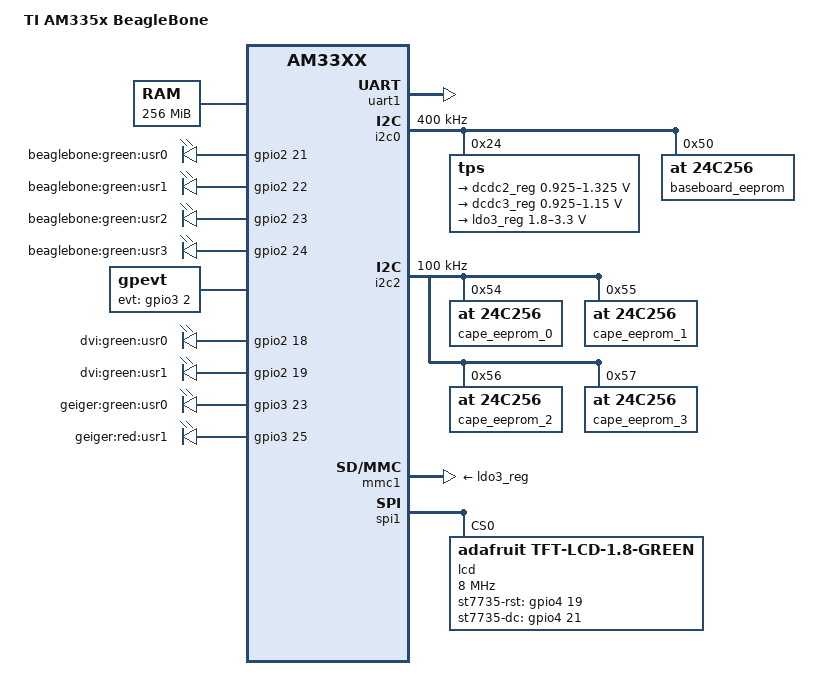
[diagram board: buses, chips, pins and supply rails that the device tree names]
/*
 * Copyright (C) 2012 Texas Instruments Incorporated - http://www.ti.com/
 *
 * This program is free software; you can redistribute it and/or modify
 * it under the terms of the GNU General Public License version 2 as
 * published by the Free Software Foundation.
 */
/dts-v1/;

/include/ "am33xx.dtsi"

/ {
	model = "TI AM335x BeagleBone";
	compatible = "ti,am335x-bone", "ti,am33xx";

	cpus {
		cpu@0 {
			cpu0-supply = <&dcdc2_reg>;
		};
	};

	memory {
		device_type = "memory";
		reg = <0x80000000 0x10000000>; /* 256 MB */
	};

	am3358_pinmux: pinmux@44e10800 {
		spi1_pins: pinmux_spi1_pins {
			pinctrl-single,pins = <
				0x190 0x13	/* mcasp0_aclkx.spi1_sclk, OUTPUT_PULLUP | MODE3 */
				0x194 0x33	/* mcasp0_fsx.spi1_d0, INPUT_PULLUP | MODE3 */
				0x198 0x13	/* mcasp0_axr0.spi1_d1, OUTPUT_PULLUP | MODE3 */
				0x19c 0x13	/* mcasp0_ahclkr.spi1_cs0, OUTPUT_PULLUP | MODE3 */
			>;
		};
		lcd_pins: pinmux_lcd_pins {
			pinctrl-single,pins = <
				0x1a4 0x17	/* mcasp0_fsr.gpio3_19, OUTPUT_PULLUP | MODE7 */
				0x1ac 0x17	/* mcasp0_ahclkx.gpio3_21, OUTPUT_PULLUP | MODE7 */
			>;
		};
		gpevt_pins: pinmux_gpevt_pins {
			pinctrl-single,pins = <
				0x090 0x37	/* gpmc_advn_ale.gpio2_2, INPUT_PULLUP | MODE7 */
			>;
		};
		userled_pins: pinmux_userled_pins {
			pinctrl-single,pins = <
				0x54 0x7	/* gpmc_a5.gpio1_21, OUTPUT | MODE7 */
				0x58 0x17	/* gpmc_a6.gpio1_22, OUTPUT_PULLUP | MODE7 */
				0x5c 0x7	/* gpmc_a7.gpio1_23, OUTPUT | MODE7 */
				0x60 0x17	/* gpmc_a8.gpio1_24, OUTPUT_PULLUP | MODE7 */
			>;
		};
		i2c2_pins: pinmux_i2c2_pins {
			pinctrl-single,pins = <
				0x178 0x73 	/* uart1_ctsn.i2c2_sda, SLEWCTRL_SLOW | INPUT_PULLUP | MODE3 */
				0x17c 0x73	/* uart1_rtsn.i2c2_scl, SLEWCTRL_SLOW | INPUT_PULLUP | MODE3 */
			>;
		};

		bone_dvi_cape_led_pins: pinmux_bone_dvi_cape_led_pins {
			pinctrl-single,pins = <
				0x48 0x07	/* gpmc_a2.gpio1_18, OUTPUT | MODE7 */
				0x4c 0x07	/* gpmc_a3.gpio1_19, OUTPUT | MODE7 */
			>;
		};

		bone_dvi_cape_dvi_00A0_pins: pinmux_bone_dvi_cape_dvi_00A0_pins {
			pinctrl-single,pins = <
				0x1c 0x07	/* gpmc_ad7.gpio1_7, OUTPUT | MODE7 - DVIPDn */

				0xa0 0x08	/* lcd_data0.lcd_data0, OMAP_MUX_MODE0 | AM33XX_PIN_OUTPUT | AM33XX_PULL_DISA */
				0xa4 0x08	/* lcd_data1.lcd_data1, OMAP_MUX_MODE0 | AM33XX_PIN_OUTPUT | AM33XX_PULL_DISA */
				0xa8 0x08	/* lcd_data2.lcd_data2, OMAP_MUX_MODE0 | AM33XX_PIN_OUTPUT | AM33XX_PULL_DISA */
				0xac 0x08	/* lcd_data3.lcd_data3, OMAP_MUX_MODE0 | AM33XX_PIN_OUTPUT | AM33XX_PULL_DISA */
				0xb0 0x08	/* lcd_data4.lcd_data4, OMAP_MUX_MODE0 | AM33XX_PIN_OUTPUT | AM33XX_PULL_DISA */
				0xb4 0x08	/* lcd_data5.lcd_data5, OMAP_MUX_MODE0 | AM33XX_PIN_OUTPUT | AM33XX_PULL_DISA */
				0xb8 0x08	/* lcd_data6.lcd_data6, OMAP_MUX_MODE0 | AM33XX_PIN_OUTPUT | AM33XX_PULL_DISA */
				0xbc 0x08	/* lcd_data7.lcd_data7, OMAP_MUX_MODE0 | AM33XX_PIN_OUTPUT | AM33XX_PULL_DISA */
				0xc0 0x08	/* lcd_data8.lcd_data8, OMAP_MUX_MODE0 | AM33XX_PIN_OUTPUT | AM33XX_PULL_DISA */
				0xc4 0x08	/* lcd_data9.lcd_data9, OMAP_MUX_MODE0 | AM33XX_PIN_OUTPUT | AM33XX_PULL_DISA */
				0xc8 0x08	/* lcd_data10.lcd_data10, OMAP_MUX_MODE0 | AM33XX_PIN_OUTPUT | AM33XX_PULL_DISA */
				0xcc 0x08	/* lcd_data11.lcd_data11, OMAP_MUX_MODE0 | AM33XX_PIN_OUTPUT | AM33XX_PULL_DISA */
				0xd0 0x08	/* lcd_data12.lcd_data12, OMAP_MUX_MODE0 | AM33XX_PIN_OUTPUT | AM33XX_PULL_DISA */
				0xd4 0x08	/* lcd_data13.lcd_data13, OMAP_MUX_MODE0 | AM33XX_PIN_OUTPUT | AM33XX_PULL_DISA */
				0xd8 0x08	/* lcd_data14.lcd_data14, OMAP_MUX_MODE0 | AM33XX_PIN_OUTPUT | AM33XX_PULL_DISA */
				0xdc 0x08	/* lcd_data15.lcd_data15, OMAP_MUX_MODE0 | AM33XX_PIN_OUTPUT | AM33XX_PULL_DISA */
				0xe0 0x00	/* lcd_vsync.lcd_vsync, OMAP_MUX_MODE0 | AM33XX_PIN_OUTPUT */
				0xe4 0x00	/* lcd_hsync.lcd_hsync, OMAP_MUX_MODE0 | AM33XX_PIN_OUTPUT */
				0xe8 0x00	/* lcd_pclk.lcd_pclk, OMAP_MUX_MODE0 | AM33XX_PIN_OUTPUT */
				0xec 0x00	/* lcd_ac_bias_en.lcd_ac_bias_en, OMAP_MUX_MODE0 | AM33XX_PIN_OUTPUT */
			>;
		};

		bone_dvi_cape_dvi_00A1_pins: pinmux_bone_dvi_cape_dvi_00A1_pins {
			pinctrl-single,pins = <
				0x84 0x07	/* gpmc_csn2.gpio1_31, OUTPUT | MODE7 - DVIPDn */

				0xa0 0x08	/* lcd_data0.lcd_data0, OMAP_MUX_MODE0 | AM33XX_PIN_OUTPUT | AM33XX_PULL_DISA */
				0xa4 0x08	/* lcd_data1.lcd_data1, OMAP_MUX_MODE0 | AM33XX_PIN_OUTPUT | AM33XX_PULL_DISA */
				0xa8 0x08	/* lcd_data2.lcd_data2, OMAP_MUX_MODE0 | AM33XX_PIN_OUTPUT | AM33XX_PULL_DISA */
				0xac 0x08	/* lcd_data3.lcd_data3, OMAP_MUX_MODE0 | AM33XX_PIN_OUTPUT | AM33XX_PULL_DISA */
				0xb0 0x08	/* lcd_data4.lcd_data4, OMAP_MUX_MODE0 | AM33XX_PIN_OUTPUT | AM33XX_PULL_DISA */
				0xb4 0x08	/* lcd_data5.lcd_data5, OMAP_MUX_MODE0 | AM33XX_PIN_OUTPUT | AM33XX_PULL_DISA */
				0xb8 0x08	/* lcd_data6.lcd_data6, OMAP_MUX_MODE0 | AM33XX_PIN_OUTPUT | AM33XX_PULL_DISA */
				0xbc 0x08	/* lcd_data7.lcd_data7, OMAP_MUX_MODE0 | AM33XX_PIN_OUTPUT | AM33XX_PULL_DISA */
				0xc0 0x08	/* lcd_data8.lcd_data8, OMAP_MUX_MODE0 | AM33XX_PIN_OUTPUT | AM33XX_PULL_DISA */
				0xc4 0x08	/* lcd_data9.lcd_data9, OMAP_MUX_MODE0 | AM33XX_PIN_OUTPUT | AM33XX_PULL_DISA */
				0xc8 0x08	/* lcd_data10.lcd_data10, OMAP_MUX_MODE0 | AM33XX_PIN_OUTPUT | AM33XX_PULL_DISA */
				0xcc 0x08	/* lcd_data11.lcd_data11, OMAP_MUX_MODE0 | AM33XX_PIN_OUTPUT | AM33XX_PULL_DISA */
				0xd0 0x08	/* lcd_data12.lcd_data12, OMAP_MUX_MODE0 | AM33XX_PIN_OUTPUT | AM33XX_PULL_DISA */
				0xd4 0x08	/* lcd_data13.lcd_data13, OMAP_MUX_MODE0 | AM33XX_PIN_OUTPUT | AM33XX_PULL_DISA */
				0xd8 0x08	/* lcd_data14.lcd_data14, OMAP_MUX_MODE0 | AM33XX_PIN_OUTPUT | AM33XX_PULL_DISA */
				0xdc 0x08	/* lcd_data15.lcd_data15, OMAP_MUX_MODE0 | AM33XX_PIN_OUTPUT | AM33XX_PULL_DISA */
				0xe0 0x00	/* lcd_vsync.lcd_vsync, OMAP_MUX_MODE0 | AM33XX_PIN_OUTPUT */
				0xe4 0x00	/* lcd_hsync.lcd_hsync, OMAP_MUX_MODE0 | AM33XX_PIN_OUTPUT */
				0xe8 0x00	/* lcd_pclk.lcd_pclk, OMAP_MUX_MODE0 | AM33XX_PIN_OUTPUT */
				0xec 0x00	/* lcd_ac_bias_en.lcd_ac_bias_en, OMAP_MUX_MODE0 | AM33XX_PIN_OUTPUT */
			>;
		};

		bone_geiger_cape_led_pins: pinmux_bone_geiger_cape_led_pins {
			pinctrl-single,pins = <
				0xe4 0x07	/* lcd_hsync.gpio2_23, OUTPUT | MODE7 */
				0xec 0x07	/* lcd_ac_bias_en.gpio2_25, OUTPUT | MODE7 */
			>;
		};

		bone_geiger_cape_pins: pinmux_bone_geiger_cape_pins {
			pinctrl-single,pins = <
				0x48 0x06       /* gpmc_a2.ehrpwm1a, OMAP_MUX_MODE6 | AM33XX_PIN_OUTPUT */
				/* 0x19c 0x34 */	/* mcasp0_ahclkr.eCAP2_in_PWM2_out, OMAP_MUX_MODE4 | INPUT_PULLUP */
				0x19c 0x37 	/* mcasp0_ahclkr.gpio3_17, OMAP_MUX_MODE4 | INPUT_PULLUP */
			>;
		};
	};

	ocp {
		uart1: serial@44e09000 {
			status = "okay";
		};

		gpio-leds {
			compatible = "gpio-leds";
			pinctrl-names = "default";
			pinctrl-0 = <&userled_pins>;

			led0 {
				label = "beaglebone:green:usr0";
				gpios = <&gpio2 21 0>;
				linux,default-trigger = "heartbeat";
				default-state = "off";
			};

			led1 {
				label = "beaglebone:green:usr1";
				gpios = <&gpio2 22 0>;
				linux,default-trigger = "mmc0";
				default-state = "off";
			};

			led2 {
				label = "beaglebone:green:usr2";
				gpios = <&gpio2 23 0>;
				linux,default-trigger = "cpu0";
				default-state = "off";
			};

			led3 {
				label = "beaglebone:green:usr3";
				gpios = <&gpio2 24 0>;
				default-state = "off";
			};
		};

		gpevt {
			compatible = "gpevt";
			pinctrl-names = "default";
			pinctrl-0 = <&gpevt_pins>;
			dmas = <&edma 12>;
			dma-names = "gpioevt";
			gpio-evt = <&gpio3 2 0>;
		};
	};

	capebus: capebus@0 {
			compatible = "bone-capebus";

			bone_dvi_cape: cape@0 {
				compatible = "bone-dvi-cape";
			};

			bone_geiger_cape: cape@1 {
				compatible = "bone-geiger-cape";
			};

			/* overrides; no EEPROM (prototyping) */
			override@0 {
				compatible = "bone-capebus-slot-override";
				slot = <0>;
				board-name = "Geiger Cape";
				version = "00A0";
				manufacturer = "Geiger Inc";
				/* TODO: Add the rest */
			};
	};
};

&i2c0 {
	status = "okay";
	clock-frequency = <400000>;

	tps: tps@24 {
		reg = <0x24>;
	};

	baseboard_eeprom: baseboard_eeprom@50 {
		compatible = "at,24c256";
		reg = <0x50>;
	};
       
};

&i2c2 {
	status = "okay";
	pinctrl-names = "default";
	pinctrl-0 = <&i2c2_pins>;

	clock-frequency = <100000>;

	/* OK, I know these are cape but for now it will do */
	cape_eeprom_0: cape_eeprom_0@54 {
		compatible = "at,24c256";
		reg = <0x54>;
	};

	cape_eeprom_1: cape_eeprom_1@55 {
		compatible = "at,24c256";
		reg = <0x55>;
	};

	cape_eeprom_2: cape_eeprom_2@56 {
		compatible = "at,24c256";
		reg = <0x56>;
	};

	cape_eeprom_3: cape_eeprom_3@57 {
		compatible = "at,24c256";
		reg = <0x57>;
	};
};

/include/ "tps65217.dtsi"

&tps {
	regulators {
		dcdc1_reg: regulator@0 {
			regulator-always-on;
		};

		dcdc2_reg: regulator@1 {
			/* VDD_MPU voltage limits 0.95V - 1.26V with +/-4% tolerance */
			regulator-name = "vdd_mpu";
			regulator-min-microvolt = <925000>;
			regulator-max-microvolt = <1325000>;
			regulator-boot-on;
			regulator-always-on;
		};

		dcdc3_reg: regulator@2 {
			/* VDD_CORE voltage limits 0.95V - 1.1V with +/-4% tolerance */
			regulator-name = "vdd_core";
			regulator-min-microvolt = <925000>;
			regulator-max-microvolt = <1150000>;
			regulator-boot-on;
			regulator-always-on;
		};

		ldo1_reg: regulator@3 {
			regulator-always-on;
		};

		ldo2_reg: regulator@4 {
			regulator-always-on;
		};

		ldo3_reg: regulator@5 {
			regulator-min-microvolt = <1800000>;
			regulator-max-microvolt = <3300000>;
			regulator-always-on;
		};

		ldo4_reg: regulator@6 {
			regulator-always-on;
		};
	};
};

&mmc1 {
	vmmc-supply = <&ldo3_reg>;
};

&spi1 {
	status = "okay";
	pinctrl-names = "default";
	pinctrl-0 = <&spi1_pins>;

	lcd@0 {
		compatible = "adafruit,tft-lcd-1.8-green", "sitronix,st7735";
		spi-max-frequency = <8000000>;
		reg = <0>;
		spi-cpol;
		spi-cpha;
		pinctrl-names = "default";
		pinctrl-0 = <&lcd_pins>;
		st7735-rst = <&gpio4 19 0>;
		st7735-dc = <&gpio4 21 0>;
	};
};

&edma {
	ti,edma-xbar-event-map = <32 12>;
};

&cpsw_emac0 {
	phy_id = "4a101000.mdio:00";
};

&cpsw_emac1 {
	phy_id = "4a101000.mdio:01";
};

&capebus {
	slots = <&cape_eeprom_0 &cape_eeprom_1 &cape_eeprom_2 &cape_eeprom_3>;
};

&bone_dvi_cape {
	board-name = "BeagleBone DVI-D CAPE";

	/* hacky, since this is not a proper DT platform device */
	/* but until we have DT bindings... */
	version@00A0 {
		version = "00A0";
		dvi {
			compatible = "da8xx-dt";
			pinctrl-names = "default";
			pinctrl-0 = <&bone_dvi_cape_dvi_00A0_pins>;
			powerdn-gpio = <&gpio2 7 0>;
			ti,hwmods = "lcdc";
		};
	};

	version@00A1 {
		version = "00A1", "01";
		dvi {
			compatible = "da8xx-dt";
			pinctrl-names = "default";
			pinctrl-0 = <&bone_dvi_cape_dvi_00A1_pins>;
			powerdn-gpio = <&gpio2 31 0>;
			ti,hwmods = "lcdc";
		};
	};

	gpio-leds {
		compatible = "gpio-leds";
		pinctrl-names = "default";
		pinctrl-0 = <&bone_dvi_cape_led_pins>;

		dvi-led0 {
			label = "dvi:green:usr0";
			gpios = <&gpio2 18 0>;
			linux,default-trigger = "heartbeat";
			default-state = "off";
		};

		dvi-led1 {
			label = "dvi:green:usr1";
			gpios = <&gpio2 19 0>;
			linux,default-trigger = "mmc0";
			default-state = "off";
		};
	};
};

&bone_geiger_cape {
	board-name = "Geiger Cape";

	pinctrl-names = "default";
	pinctrl-0 = <&bone_geiger_cape_pins>;

	pwms = <&ehrpwm1 0 500000 0>;
	pwm-names = "bone-geiger-cape";

	pwm-frequency  = <20000>;	/* 20KHz */
	pwm-duty-cycle = <60>;		/* 60% */

	event-blink-delay = <30>;	/* 30ms */

	gpios = <&gpio4 17 0>;		/* pulse */

	vsense-name = "AIN5";		/* analog vsense */
	vsense-scale = <37325>;		/* scaling */

	gpio-leds {
		compatible = "gpio-leds";
		pinctrl-names = "default";
		pinctrl-0 = <&bone_geiger_cape_led_pins>;

		geiger-led0 {
			label = "geiger:green:usr0";
			gpios = <&gpio3 23 0>;
			linux,default-trigger = "geiger-run";
			default-state = "off";
		};

		geiger-led1 {
			label = "geiger:red:usr1";
			gpios = <&gpio3 25 0>;
			linux,default-trigger = "geiger-event";
			default-state = "off";
		};
	};
};
